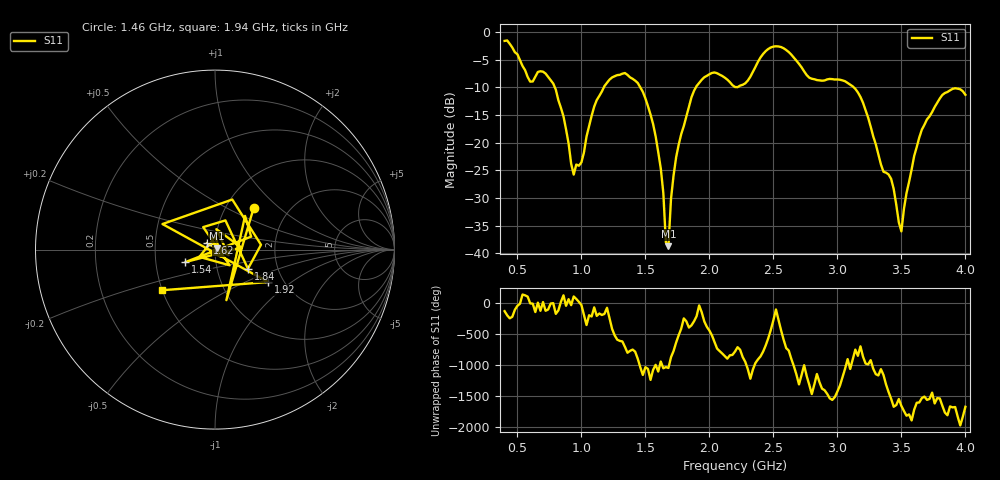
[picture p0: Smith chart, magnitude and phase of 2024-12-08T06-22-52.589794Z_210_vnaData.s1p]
!Created with skrf (http://scikit-rf.org).
# Hz S RI R 50.0
!freq ReS11 ImS11
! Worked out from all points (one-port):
!   181 points, 400 MHz to 4 GHz, reference 50 ohm
!   lowest |S11| = -38.7 dB at 1.68 GHz (marker M1), VSWR 1.02, Z = 50.9 + j0.684 ohm
!   |S11| at or under -10 dB: 792.8 MHz to 1.175 GHz (382.2 MHz wide, 38.8 % of centre); 1.46 GHz to 1.894 GHz (433.9 MHz wide, 25.9 % of centre); 3.129 GHz to end of sweep
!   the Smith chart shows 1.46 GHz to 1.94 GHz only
!   S11 on the Smith chart (normalised r, x): 1.46 GHz: 1.34, +0.69; 1.54 GHz: 0.71, -0.10; 1.62 GHz: 0.91, +0.07; 1.84 GHz: 1.41, -0.31; 1.92 GHz: 1.67, -0.69; 1.94 GHz: 0.50, -0.26
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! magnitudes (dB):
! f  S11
! 400 MHz  -1.6
! 600 MHz  -8.9
! 720 MHz  -7.5
! 860 MHz  -15.2
! 940 MHz  -25.8
! 1 GHz  -23.6
! 1.12 GHz  -12.3
! 1.3 GHz  -7.7
! 1.46 GHz  -10.0
! 1.54 GHz  -14.9
! 1.62 GHz  -24.6
! 1.66 GHz  -38.1
! 1.68 GHz  -38.7
! 1.7 GHz  -30.2
! 1.76 GHz  -20.4
! 1.84 GHz  -13.5
! 1.92 GHz  -9.2
! 1.94 GHz  -8.6
! 2.2 GHz  -9.9
! 2.48 GHz  -2.8
! 2.66 GHz  -4.6
! 3.1 GHz  -9.5
! 3.42 GHz  -26.6
! 3.5 GHz  -36.1
! 3.56 GHz  -27.1
! 3.66 GHz  -17.6
! 3.8 GHz  -12.0
! 4 GHz  -11.3
